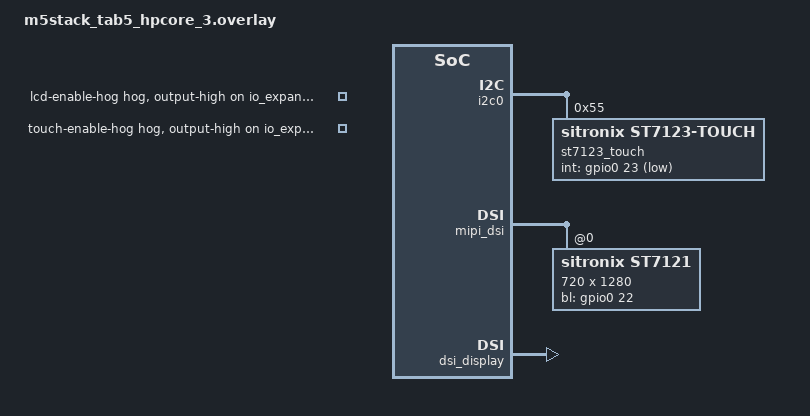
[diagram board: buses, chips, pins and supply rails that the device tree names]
/*
 * SPDX-FileCopyrightText: Copyright The Zephyr Project Contributors
 * SPDX-License-Identifier: Apache-2.0
 */

/* Board revision 3: Sitronix ST7121 display with integrated touch controller */

#include <zephyr/dt-bindings/display/panel.h>
#include <zephyr/dt-bindings/mipi_dsi/mipi_dsi.h>

/ {
	chosen {
		zephyr,display = &dsi_display;
		zephyr,touch = &st7123_touch;
	};
};

&io_expander0 {
	lcd-enable-hog {
		gpio-hog;
		gpios = <4 GPIO_ACTIVE_HIGH>;
		output-high;
	};

	touch-enable-hog {
		gpio-hog;
		gpios = <5 GPIO_ACTIVE_HIGH>;
		output-high;
	};
};

&i2c0 {
	st7123_touch: touch-controller@55 {
		compatible = "sitronix,st7123-touch";
		reg = <0x55>;
		int-gpios = <&gpio0 23 GPIO_ACTIVE_LOW>;
		screen-width = <720>;
		screen-height = <1280>;
	};
};

/* LDO_VO3 supplies the MIPI D-PHY. */
&ldo {
	ldo3@3 {
		regulator-init-microvolt = <2500000>;
		regulator-boot-on;
		regulator-always-on;
	};
};

&mipi_dsi {
	data-lanes = <2>;
	phy-clock = <965000000>;
	dpi-clock-frequency = <70000000>;
	status = "okay";

	st7121: panel-controller@0 {
		compatible = "sitronix,st7121";
		reg = <0>;
		data-lanes = <2>;
		pixel-format = <MIPI_DSI_PIXFMT_RGB565>;
		width = <720>;
		height = <1280>;
		bl-gpios = <&gpio0 22 GPIO_ACTIVE_HIGH>;

		display-timings {
			compatible = "zephyr,panel-timing";
			hsync-len = <2>;
			hback-porch = <40>;
			hfront-porch = <40>;
			vsync-len = <20>;
			vback-porch = <24>;
			vfront-porch = <200>;
			hsync-active = <0>;
			vsync-active = <0>;
			de-active = <1>;
			pixelclk-active = <0>;
		};
	};
};

&dsi_display {
	pixel-format = <PANEL_PIXEL_FORMAT_RGB_565>;
	width = <720>;
	height = <1280>;
	status = "okay";
};
